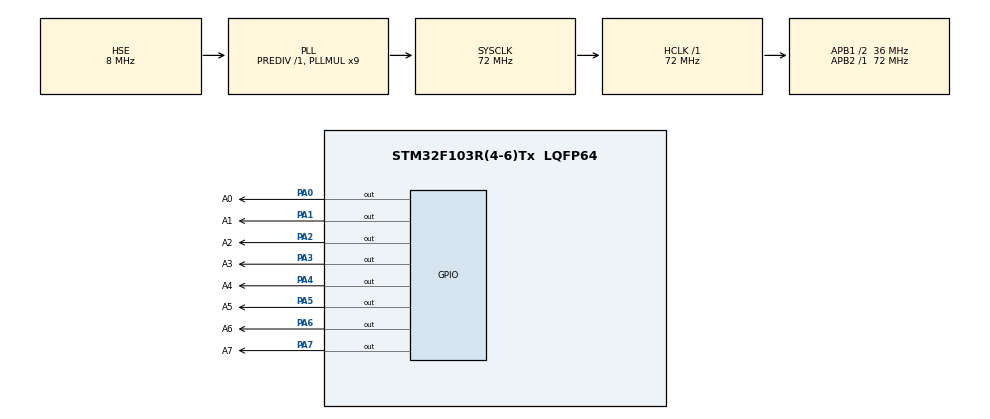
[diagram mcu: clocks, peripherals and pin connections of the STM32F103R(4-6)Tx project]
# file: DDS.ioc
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Mcu.Family=STM32F1
Mcu.Name=STM32F103R(4-6)Tx
Mcu.Package=LQFP64
NVIC.PriorityGroup=NVIC_PRIORITYGROUP_4
PA0-WKUP.GPIO_Label=A0
PA0-WKUP.GPIO_PuPd=GPIO_PULLDOWN
PA0-WKUP.GPIO_Speed=GPIO_SPEED_FREQ_HIGH
PA0-WKUP.Signal=GPIO_Output
PA1.GPIO_Label=A1
PA1.GPIO_PuPd=GPIO_PULLDOWN
PA1.GPIO_Speed=GPIO_SPEED_FREQ_HIGH
PA1.Signal=GPIO_Output
PA2.GPIO_Label=A2
PA2.GPIO_PuPd=GPIO_PULLDOWN
PA2.GPIO_Speed=GPIO_SPEED_FREQ_HIGH
PA2.Signal=GPIO_Output
PA3.GPIO_Label=A3
PA3.GPIO_PuPd=GPIO_PULLDOWN
PA3.GPIO_Speed=GPIO_SPEED_FREQ_HIGH
PA3.Signal=GPIO_Output
PA4.GPIO_Label=A4
PA4.GPIO_PuPd=GPIO_PULLDOWN
PA4.GPIO_Speed=GPIO_SPEED_FREQ_HIGH
PA4.Signal=GPIO_Output
PA5.GPIO_Label=A5
PA5.GPIO_PuPd=GPIO_PULLDOWN
PA5.GPIO_Speed=GPIO_SPEED_FREQ_HIGH
PA5.Signal=GPIO_Output
PA6.GPIO_Label=A6
PA6.GPIO_PuPd=GPIO_PULLDOWN
PA6.GPIO_Speed=GPIO_SPEED_FREQ_HIGH
PA6.Signal=GPIO_Output
PA7.GPIO_Label=A7
PA7.GPIO_PuPd=GPIO_PULLDOWN
PA7.GPIO_Speed=GPIO_SPEED_FREQ_HIGH
PA7.Signal=GPIO_Output
PD0-OSC_IN.Mode=HSE-External-Oscillator
PD0-OSC_IN.Signal=RCC_OSC_IN
PD1-OSC_OUT.Mode=HSE-External-Oscillator
PD1-OSC_OUT.Signal=RCC_OSC_OUT
ProjectManager.HeapSize=0x200
ProjectManager.StackSize=0x400
ProjectManager.TargetToolchain=MDK-ARM V5.27
RCC.AHBFreq_Value=72000000
RCC.APB1CLKDivider=RCC_HCLK_DIV2
RCC.APB1Freq_Value=36000000
RCC.APB1TimFreq_Value=72000000
RCC.APB2Freq_Value=72000000
RCC.APB2TimFreq_Value=72000000
RCC.HCLKFreq_Value=72000000
RCC.PLLMUL=RCC_PLL_MUL9
RCC.PLLSourceVirtual=RCC_PLLSOURCE_HSE
RCC.SYSCLKFreq_VALUE=72000000
RCC.SYSCLKSource=RCC_SYSCLKSOURCE_PLLCLK
RCC.USBFreq_Value=72000000
VP_SYS_VS_ND.Mode=No_Debug
board=custom

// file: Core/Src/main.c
/* USER CODE BEGIN Header */
/**
  ******************************************************************************
  * @file           : main.c
  * @brief          : Main program body
  ******************************************************************************
  * @attention
  *
  * <h2><center>&copy; Copyright (c) 2021 STMicroelectronics.
  * All rights reserved.</center></h2>
  *
  * This software component is licensed by ST under BSD 3-Clause license,
  * the "License"; You may not use this file except in compliance with the
  * License. You may obtain a copy of the License at:
  *                        opensource.org/licenses/BSD-3-Clause
  *
  ******************************************************************************
  */
/* USER CODE END Header */
#include "main.h"
#include "gpio.h"

/* USER CODE BEGIN Includes */
#include "delay.h"
/* USER CODE END Includes */

/* USER CODE BEGIN PTD */
unsigned int sin_dat[360]=
{0x80,0x82,0x84,0x86,0x88,0x8b,0x8d,0x8f,0x91,0x94,0x96,0x98,
0x9a,0x9c,0x9e,0xa1,0xa3,0xa5,0xa7,0xa9,0xab,0xad,0xaf,0xb1,
0xb4,0xb6,0xb8,0xba,0xbc,0xbe,0xbf,0xc1,0xc3,0xc5,0xc7,0xc9,
0xcb,0xcc,0xce,0xd0,0xd2,0xd3,0xd5,0xd7,0xd8,0xda,0xdc,0xdd,
0xdf,0xe0,0xe2,0xe3,0xe4,0xe6,0xe7,0xe8,0xea,0xeb,0xec,0xed,
0xee,0xef,0xf0,0xf2,0xf3,0xf3,0xf4,0xf5,0xf6,0xf7,0xf8,0xf9,
0xf9,0xfa,0xfb,0xfb,0xfc,0xfc,0xfd,0xfd,0xfe,0xfe,0xfe,0xff,
0xff,0xff,0xff,0xff,0xff,0xff,0xff,0xff,0xff,0xff,0xff,0xff,
0xff,0xff,0xfe,0xfe,0xfe,0xfd,0xfd,0xfc,0xfc,0xfb,0xfb,0xfa,
0xf9,0xf9,0xf8,0xf7,0xf6,0xf5,0xf4,0xf4,0xf3,0xf2,0xf1,0xf0,
0xee,0xed,0xec,0xeb,0xea,0xe8,0xe7,0xe6,0xe4,0xe3,0xe2,0xe0,
0xdf,0xdd,0xdc,0xda,0xd9,0xd7,0xd5,0xd4,0xd2,0xd0,0xce,0xcd,
0xcb,0xc9,0xc7,0xc5,0xc3,0xc2,0xc0,0xbe,0xbc,0xba,0xb8,0xb6,
0xb4,0xb2,0xb0,0xae,0xab,0xa9,0xa7,0xa5,0xa3,0xa1,0x9f,0x9c,
0x9a,0x98,0x96,0x94,0x92,0x8f,0x8d,0x8b,0x89,0x86,0x84,0x82,
0x80,0x7d,0x7b,0x79,0x77,0x75,0x72,0x70,0x6e,0x6c,0x69,0x67,
0x65,0x63,0x61,0x5f,0x5c,0x5a,0x58,0x56,0x54,0x52,0x50,0x4e,
0x4c,0x4a,0x48,0x46,0x44,0x42,0x40,0x3e,0x3c,0x3a,0x38,0x36,
0x34,0x33,0x31,0x2f,0x2d,0x2c,0x2a,0x28,0x27,0x25,0x24,0x22,
0x21,0x1f,0x1e,0x1c,0x1b,0x19,0x18,0x17,0x16,0x14,0x13,0x12,
0x11,0x10,0x0f,0x0e,0x0d,0x0c,0x0b,0x0a,0x09,0x08,0x07,0x07,
0x06,0x5,0x5,0x4,0x3,0x3,0x2,0x2,0x1,0x1,0x1,0x0,0x0,0x0,0x0,
0x0,0x0,0x0,0x0,0x0,0x0,0x0,0x0,0x0,0x0,0x0,0x1,0x1,0x1,0x2,
0x2,0x3,0x3,0x4,0x4,0x5,0x6,0x6,0x7,0x8,0x9,0xa,0xa,0xb,0xc,
0xd,0xe,0xf,0x10,0x12,0x13,0x14,0x15,0x16,0x18,0x19,0x1a,0x1c,
0x1d,0x1f,0x20,0x22,0x23,0x25,0x26,0x28,0x2a,0x2b,0x2d,0x2f,
0x30,0x32,0x34,0x36,0x38,0x39,0x3b,0x3d,0x3f,0x41,0x43,0x45,
0x47,0x49,0x4b,0x4d,0x4f,0x51,0x53,0x55,0x58,0x5a,0x5c,0x5e,
0x60,0x62,0x65,0x67,0x69,0x6b,0x6d,0x70,0x72,0x74,0x76,0x78,
0x7b,0x7d};// 正弦信号产生数组	   超过128字节需要将数据放到rom当中

void writeGPIO(uint32_t data)
{
    HAL_GPIO_WritePin(A0_GPIO_Port, A0_Pin, (data & 0x01) == 0x01 ? GPIO_PIN_SET: GPIO_PIN_RESET);
    HAL_GPIO_WritePin(A1_GPIO_Port, A1_Pin, (data & 0x02) == 0x02 ? GPIO_PIN_SET: GPIO_PIN_RESET);
    HAL_GPIO_WritePin(A2_GPIO_Port, A2_Pin, (data & 0x04) == 0x04 ? GPIO_PIN_SET: GPIO_PIN_RESET);
    HAL_GPIO_WritePin(A3_GPIO_Port, A3_Pin, (data & 0x08) == 0x08 ? GPIO_PIN_SET: GPIO_PIN_RESET);
    HAL_GPIO_WritePin(A4_GPIO_Port, A4_Pin, (data & 0x10) == 0x10 ? GPIO_PIN_SET: GPIO_PIN_RESET);
    HAL_GPIO_WritePin(A5_GPIO_Port, A5_Pin, (data & 0x20) == 0x20 ? GPIO_PIN_SET: GPIO_PIN_RESET);
    HAL_GPIO_WritePin(A6_GPIO_Port, A6_Pin, (data & 0x40) == 0x40 ? GPIO_PIN_SET: GPIO_PIN_RESET);
    HAL_GPIO_WritePin(A7_GPIO_Port, A7_Pin, (data & 0x80) == 0x80 ? GPIO_PIN_SET: GPIO_PIN_RESET);
}
/* USER CODE END PTD */

void SystemClock_Config(void);

int main(void)
{

  /* MCU Configuration--------------------------------------------------------*/

  /* Reset of all peripherals, Initializes the Flash interface and the Systick. */
  HAL_Init();

  /* Configure the system clock */
  SystemClock_Config();

  /* Initialize all configured peripherals */
  MX_GPIO_Init();

  /* Infinite loop */
  while (1)
  {

    /* USER CODE BEGIN 3 */

      for(uint16_t i=0; i < 360; i++)//以下为0832驱动程序
		{
			writeGPIO(sin_dat[i]);
           // delay_us(30);
	   	}
  }
  /* USER CODE END 3 */
}

void SystemClock_Config(void)
{
  RCC_OscInitTypeDef RCC_OscInitStruct = {0};
  RCC_ClkInitTypeDef RCC_ClkInitStruct = {0};

  /** Initializes the RCC Oscillators according to the specified parameters
  * in the RCC_OscInitTypeDef structure.
  */
  RCC_OscInitStruct.OscillatorType = RCC_OSCILLATORTYPE_HSE;
  RCC_OscInitStruct.HSEState = RCC_HSE_ON;
  RCC_OscInitStruct.HSEPredivValue = RCC_HSE_PREDIV_DIV1;
  RCC_OscInitStruct.HSIState = RCC_HSI_ON;
  RCC_OscInitStruct.PLL.PLLState = RCC_PLL_ON;
  RCC_OscInitStruct.PLL.PLLSource = RCC_PLLSOURCE_HSE;
  RCC_OscInitStruct.PLL.PLLMUL = RCC_PLL_MUL9;
  if (HAL_RCC_OscConfig(&RCC_OscInitStruct) != HAL_OK)
  {
    Error_Handler();
  }
  /** Initializes the CPU, AHB and APB buses clocks
  */
  RCC_ClkInitStruct.ClockType = RCC_CLOCKTYPE_HCLK|RCC_CLOCKTYPE_SYSCLK
                              |RCC_CLOCKTYPE_PCLK1|RCC_CLOCKTYPE_PCLK2;
  RCC_ClkInitStruct.SYSCLKSource = RCC_SYSCLKSOURCE_PLLCLK;
  RCC_ClkInitStruct.AHBCLKDivider = RCC_SYSCLK_DIV1;
  RCC_ClkInitStruct.APB1CLKDivider = RCC_HCLK_DIV2;
  RCC_ClkInitStruct.APB2CLKDivider = RCC_HCLK_DIV1;

  if (HAL_RCC_ClockConfig(&RCC_ClkInitStruct, FLASH_LATENCY_2) != HAL_OK)
  {
    Error_Handler();
  }
}

void Error_Handler(void)
{
  __disable_irq();
  while (1)
  {
  }
}

/************************ (C) COPYRIGHT STMicroelectronics *****END OF FILE****/
